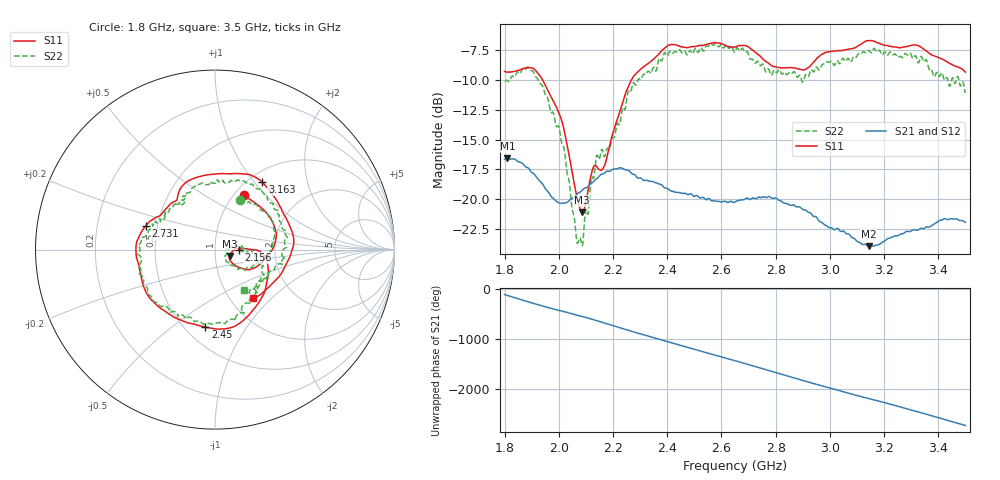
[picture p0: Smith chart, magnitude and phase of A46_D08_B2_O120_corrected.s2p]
! Created with skrf 1.9.0 (http://scikit-rf.org).
# Hz S RI R 50.0
!freq ReS11 ImS11 ReS21 ImS21 ReS12 ImS12 ReS22 ImS22
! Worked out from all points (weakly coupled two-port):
!   1601 points, 1.8 GHz to 3.5 GHz, reference 50 ohm
!   highest |S21| = -16.58 dB at 1.811 GHz (marker M1); lowest = -23.9 dB at 3.144 GHz (marker M2)
!   lowest |S11| = -21.1 dB at 2.085 GHz (marker M3), VSWR 1.19, Z = 58.7 - j4.13 ohm
!   |S11| at or under -10 dB: 1.94 GHz to 2.268 GHz (328.1 MHz wide, 15.6 % of centre)
!   |S22| runs from -23.9 to -7.0 dB; largest |S21 - S12| = 0.0028
!   S11 on the Smith chart (normalised r, x): 1.8 GHz: 1.12, +0.76; 2.156 GHz: 1.30, -0.01; 2.45 GHz: 0.63, -0.67; 2.731 GHz: 0.43, +0.14; 3.163 GHz: 1.16, +1.10; 3.5 GHz: 1.27, -0.77
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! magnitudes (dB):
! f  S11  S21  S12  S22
! 1.8 GHz  -9.3  -16.7  -16.7  -10.1
! 1.811 GHz  -9.4  -16.6  -16.6  -10.1
! 1.887 GHz  -9.0  -17.4  -17.4  -8.9
! 1.94 GHz  -10.0  -18.7  -18.7  -10.5
! 2.011 GHz  -13.5  -20.3  -20.3  -15.3
! 2.065 GHz  -19.6  -19.6  -19.6  -23.2
! 2.084 GHz  -21.1  -19.3  -19.3  -23.7
! 2.085 GHz  -21.1  -19.3  -19.3  -23.8
! 2.127 GHz  -17.3  -18.5  -18.5  -18.3
! 2.156 GHz  -17.6  -17.9  -17.9  -16.0
! 2.189 GHz  -15.4  -17.6  -17.7  -15.7
! 2.264 GHz  -10.2  -17.7  -17.7  -11.0
! 2.367 GHz  -7.9  -18.7  -18.7  -8.4
! 2.45 GHz  -7.2  -19.5  -19.5  -7.6
! 2.65 GHz  -7.3  -20.2  -20.2  -7.6
! 2.731 GHz  -7.8  -19.9  -19.9  -8.5
! 2.934 GHz  -8.7  -21.3  -21.3  -9.2
! 3.144 GHz  -6.7  -23.9  -23.9  -7.5
! 3.163 GHz  -6.8  -23.9  -23.9  -7.4
! 3.217 GHz  -7.2  -23.3  -23.2  -7.8
! 3.342 GHz  -7.3  -22.4  -22.4  -8.2
! 3.5 GHz  -9.3  -21.9  -21.9  -11.1
